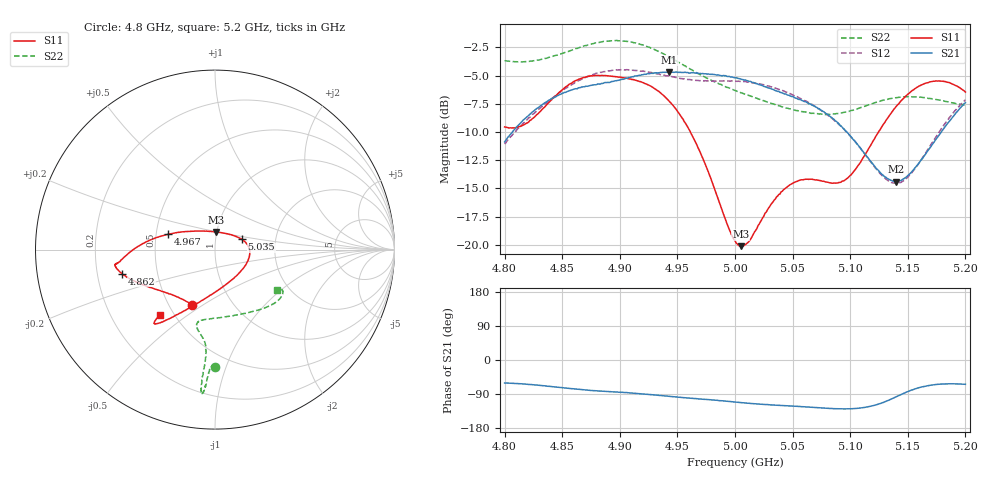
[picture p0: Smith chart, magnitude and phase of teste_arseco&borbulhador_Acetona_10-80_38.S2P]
! Network Analyzer HP8722D
! Hewlett-Packard
! Data name: Linha & Wilkinson
! Saver's name: Rodrigo Anjos
! Comments: Teste da utilização de aquisição
! continua pelo VNA HP8722D
! Time and date: 17/4/2025 14:40
!  Frequency  S11  S21  S12  S22
# HZ  S  MA R 50
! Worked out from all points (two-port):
!   401 points, 4.8 GHz to 5.2 GHz, reference 50 ohm
!   highest |S21| = -4.67 dB at 4.943 GHz (marker M1); lowest = -14.4 dB at 5.14 GHz (marker M2)
!   |S21| within 3 dB of the highest: 4.831 GHz to 5.068 GHz (237 MHz wide, 4.79 % of centre); 5.197303 GHz to end of sweep
!   lowest |S11| = -20.1 dB at 5.005 GHz (marker M3), VSWR 1.22, Z = 49.8 + j9.88 ohm
!   |S11| at or under -10 dB: 4.961 GHz to 5.125 GHz (163.3 MHz wide, 3.24 % of centre)
!   |S22| runs from -8.5 to -1.9 dB; largest |S21 - S12| = 0.88
!   S11 on the Smith chart (normalised r, x): 4.8 GHz: 0.65, -0.45; 4.862 GHz: 0.31, -0.12; 4.967 GHz: 0.58, +0.11; 5.035 GHz: 1.34, +0.16; 5.2 GHz: 0.42, -0.39
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4.8e9  0.3331 -113.0  0.2859 -60.7  0.2799 -175.0  0.6549 -89.9
4.819e9  0.3463 -133.0  0.3672 -63.9  0.3562 -173.4  0.6496 -91.5
4.862e9  0.5351 -165.5  0.4923 -76.9  0.5276 -176.5  0.7422 -93.7
4.867e9  0.5478 -167.4  0.501 -78.3  0.5425 -177.6  0.7563 -94.0
4.899e9  0.5537 -172.0  0.5366 -85.0  0.5963 175.8  0.8031 -95.2
4.934e9  0.4782 -178.0  0.5792 -93.4  0.5735 172.1  0.7179 -95.7
4.943e9  0.4327 178.0  0.584 -95.9  0.5596 172.0  0.6806 -95.4
4.967e9  0.2766 162.0  0.5772 -102.0  0.535 174.0  0.5783 -95.0
5e9  0.1043 103.0  0.55 -111.0  0.5315 176.5  0.4834 -99.1
5.005e9  0.09851 85.6  0.5437 -112.4  0.53 176.2  0.4724 -100.2
5.013e9  0.1049 60.1  0.5305 -114.5  0.5244 176.1  0.4576 -101.9
5.035e9  0.1595 21.0  0.483 -119.1  0.4949 174.7  0.4183 -103.4
5.05e9  0.1872 5.6  0.4542 -121.7  0.4624 174.3  0.3972 -99.9
5.067e9  0.1954 -12.7  0.4157 -124.7  0.419 173.8  0.3829 -91.0
5.086e9  0.1879 -42.5  0.3595 -128.5  0.3568 173.6  0.3805 -76.7
5.097e9  0.1959 -65.3  0.316 -128.9  0.3161 174.4  0.3886 -67.6
5.134e9  0.3738 -115.9  0.1944 -105.3  0.1911 -158.2  0.4442 -42.9
5.14e9  0.4112 -119.5  0.1907 -97.0  0.188 -148.7  0.4489 -40.3
5.152e9  0.4741 -124.4  0.2068 -80.9  0.204 -130.2  0.4534 -36.0
5.17e9  0.5284 -128.5  0.2719 -66.4  0.2776 -112.6  0.4452 -31.8
5.184e9  0.5262 -129.9  0.3428 -63.0  0.3544 -107.3  0.4314 -30.9
5.2e9  0.4755 -130.3  0.4265 -64.1  0.4396 -106.3  0.4147 -33.2
